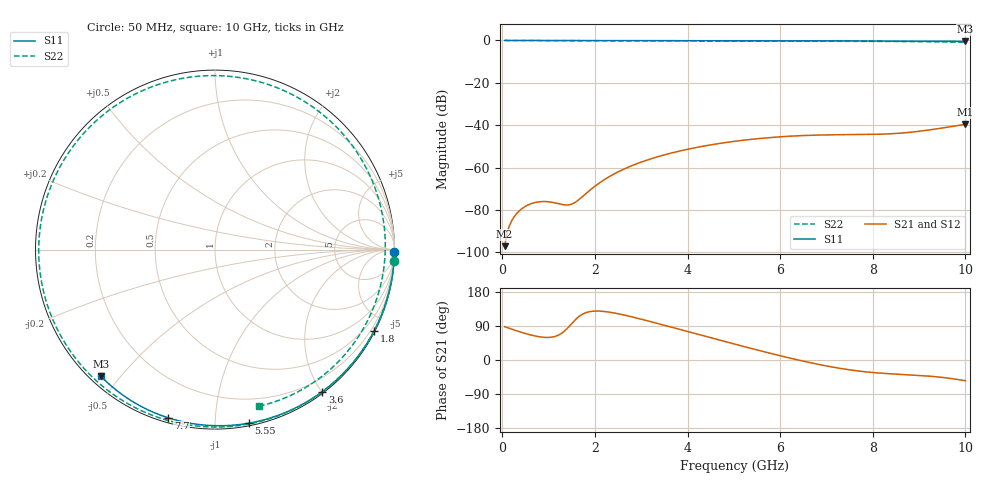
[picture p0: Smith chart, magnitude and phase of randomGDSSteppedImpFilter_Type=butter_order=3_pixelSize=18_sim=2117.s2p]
! freq	dB(S11)	phase(S11)	dB(S12)	phase(S12)
!  dB(S21)	phase(S21)	dB(S22)	phase(S22)
!S-par simulation data
#  GHz  S  DB  R 50
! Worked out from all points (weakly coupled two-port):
!   200 points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, 50 MHz to 10 GHz, reference 50 ohm
!   highest |S21| = -39.61 dB at 10 GHz (marker M1); lowest = -97.1 dB at 50 MHz (marker M2)
!   lowest |S11| = -0.4 dB at 10 GHz (marker M3), VSWR 38.98, Z = 1.54 - j22.2 ohm
!   |S11| at or under -10 dB: nowhere
!   |S22| runs from -0.9 to 0.0 dB; largest |S21 - S12| = 0
!   S11 on the Smith chart (normalised r, x): 50 MHz: open; 1.8 GHz: 0.04, -4.15; 3.6 GHz: 0.02, -2.01; 5.55 GHz: 0.02, -1.21; 7.7 GHz: 0.02, -0.76; 10 GHz: 0.03, -0.44
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0.05  -0.00 -0.8  -97.14 87.9  -97.14 87.9  -0.00 -3.6
0.45  -0.01 -6.9  -79.00 71.7  -79.00 71.7  -0.05 -31.7
0.9  -0.02 -13.7  -76.06 59.9  -76.06 59.9  -0.07 -61.3
1.45  -0.03 -21.9  -77.59 89.6  -77.59 89.6  -0.10 -93.2
1.75  -0.03 -26.4  -73.38 122.0  -73.38 122.0  -0.11 -108.6
1.8  -0.03 -27.1  -72.43 124.6  -72.43 124.6  -0.11 -111.1
2.2  -0.04 -33.0  -65.78 128.1  -65.78 128.1  -0.12 -129.4
2.6  -0.05 -38.8  -61.01 119.5  -61.01 119.5  -0.13 -146.0
3.4  -0.07 -50.2  -54.63 94.9  -54.63 94.9  -0.15 -175.7
3.6  -0.07 -53.0  -53.44 88.4  -53.44 88.4  -0.16 177.3
4.3  -0.09 -62.6  -50.08 65.3  -50.08 65.3  -0.18 153.8
5.05  -0.11 -72.6  -47.53 40.8  -47.53 40.8  -0.21 128.8
5.55  -0.13 -79.1  -46.31 25.0  -46.31 25.0  -0.24 111.8
6.15  -0.15 -86.7  -45.29 6.8  -45.29 6.8  -0.27 90.6
6.7  -0.18 -93.5  -44.75 -8.3  -44.75 -8.3  -0.30 70.2
7.2  -0.21 -99.6  -44.54 -20.2  -44.54 -20.2  -0.33 50.7
7.7  -0.24 -105.5  -44.46 -29.2  -44.46 -29.2  -0.37 30.2
8.35  -0.29 -113.2  -44.11 -36.1  -44.11 -36.1  -0.45 2.4
8.75  -0.32 -117.8  -43.48 -38.8  -43.48 -38.8  -0.51 -15.4
9.15  -0.36 -122.4  -42.46 -41.9  -42.46 -41.9  -0.60 -33.6
9.6  -0.40 -127.5  -41.00 -47.5  -41.00 -47.5  -0.72 -54.8
10  -0.45 -132.0  -39.61 -54.7  -39.61 -54.7  -0.85 -74.2
